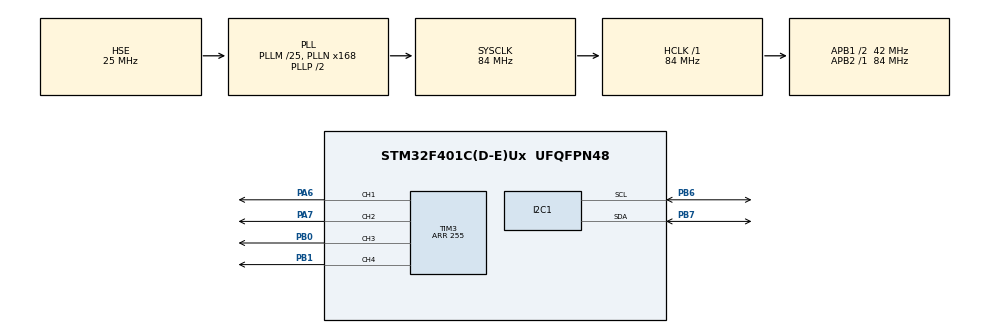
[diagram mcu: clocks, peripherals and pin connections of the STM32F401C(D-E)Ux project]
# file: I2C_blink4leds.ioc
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I2C1.OwnAddress=0x08
Mcu.Family=STM32F4
Mcu.Name=STM32F401C(D-E)Ux
Mcu.Package=UFQFPN48
NVIC.I2C1_ER_IRQn=true\:0\:0\:false\:false\:true\:true\:true\:true
NVIC.I2C1_EV_IRQn=true\:0\:0\:false\:false\:true\:true\:true\:true
NVIC.PriorityGroup=NVIC_PRIORITYGROUP_4
PA6.Signal=S_TIM3_CH1
PA7.Signal=S_TIM3_CH2
PB0.Signal=S_TIM3_CH3
PB1.Signal=S_TIM3_CH4
PB6.Mode=I2C
PB6.Signal=I2C1_SCL
PB7.Mode=I2C
PB7.Signal=I2C1_SDA
PH0\ -\ OSC_IN.Mode=HSE-External-Oscillator
PH0\ -\ OSC_IN.Signal=RCC_OSC_IN
PH1\ -\ OSC_OUT.Mode=HSE-External-Oscillator
PH1\ -\ OSC_OUT.Signal=RCC_OSC_OUT
ProjectManager.HeapSize=0x200
ProjectManager.StackSize=0x400
ProjectManager.TargetToolchain=STM32CubeIDE
RCC.48MHZClocksFreq_Value=42000000
RCC.AHBFreq_Value=84000000
RCC.APB1CLKDivider=RCC_HCLK_DIV2
RCC.APB1Freq_Value=42000000
RCC.APB1TimFreq_Value=84000000
RCC.APB2Freq_Value=84000000
RCC.APB2TimFreq_Value=84000000
RCC.CortexFreq_Value=84000000
RCC.HCLKFreq_Value=84000000
RCC.HSE_VALUE=25000000
RCC.HSI_VALUE=16000000
RCC.LSE_VALUE=32768
RCC.PLLM=25
RCC.PLLN=168
RCC.PLLSourceVirtual=RCC_PLLSOURCE_HSE
RCC.SYSCLKFreq_VALUE=84000000
RCC.SYSCLKSource=RCC_SYSCLKSOURCE_PLLCLK
RCC.VCOOutputFreq_Value=168000000
SH.S_TIM3_CH1.0=TIM3_CH1,PWM Generation1 CH1
SH.S_TIM3_CH2.0=TIM3_CH2,PWM Generation2 CH2
SH.S_TIM3_CH3.0=TIM3_CH3,PWM Generation3 CH3
SH.S_TIM3_CH4.0=TIM3_CH4,PWM Generation4 CH4
TIM3.Channel-PWM\ Generation1\ CH1=TIM_CHANNEL_1
TIM3.Channel-PWM\ Generation2\ CH2=TIM_CHANNEL_2
TIM3.Channel-PWM\ Generation3\ CH3=TIM_CHANNEL_3
TIM3.Channel-PWM\ Generation4\ CH4=TIM_CHANNEL_4
TIM3.Period=255
VP_TIM3_VS_ClockSourceINT.Mode=Internal
board=custom

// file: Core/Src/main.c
/* USER CODE BEGIN Header */
/**
 ******************************************************************************
 * @file           : main.c
 * @brief          : Main program body
 ******************************************************************************
 * @attention
 *
 * Copyright (c) 2024 STMicroelectronics.
 * All rights reserved.
 *
 * This software is licensed under terms that can be found in the LICENSE file
 * in the root directory of this software component.
 * If no LICENSE file comes with this software, it is provided AS-IS.
 *
 ******************************************************************************
 */
/* USER CODE END Header */
#include "main.h"

I2C_HandleTypeDef hi2c1;

TIM_HandleTypeDef htim3;

void SystemClock_Config(void);
static void MX_GPIO_Init(void);
static void MX_I2C1_Init(void);
static void MX_TIM3_Init(void);

/* USER CODE BEGIN 0 */
#define LED_COUNT 4
uint8_t LED_BRIGHTNESS[LED_COUNT];

uint8_t count = 0;

void HAL_I2C_ListenCpltCallback(I2C_HandleTypeDef *hi2c) {
	HAL_I2C_EnableListen_IT(hi2c);
}

void HAL_I2C_AddrCallback(I2C_HandleTypeDef *hi2c, uint8_t TransferDirection,
		uint16_t AddrMatchCode) {
	if (TransferDirection == I2C_DIRECTION_TRANSMIT) {
		HAL_I2C_Slave_Sequential_Receive_IT(hi2c, LED_BRIGHTNESS, LED_COUNT,
				I2C_FIRST_AND_LAST_FRAME);
	} else {
		Error_Handler();
	}
}

void HAL_I2C_SlaveRxCpltCallback(I2C_HandleTypeDef *hi2c) {
	count++;
	if(hi2c->Instance == I2C1){
			uint8_t pwm_value[LED_COUNT];
			for(int i = 0; i < LED_COUNT; i++){
				pwm_value[i] = (LED_BRIGHTNESS[i]*255/100);
			}

			__HAL_TIM_SET_COMPARE(&htim3, TIM_CHANNEL_1, pwm_value[0]);
			__HAL_TIM_SET_COMPARE(&htim3, TIM_CHANNEL_2, pwm_value[1]);
			__HAL_TIM_SET_COMPARE(&htim3, TIM_CHANNEL_3, pwm_value[2]);
			__HAL_TIM_SET_COMPARE(&htim3, TIM_CHANNEL_4, pwm_value[3]);
		}

}

void HAL_I2C_ErrorCallback(I2C_HandleTypeDef *hi2c) {
	HAL_I2C_EnableListen_IT(hi2c);
}

/* USER CODE END 0 */

int main(void)
{

  /* MCU Configuration--------------------------------------------------------*/

  /* Reset of all peripherals, Initializes the Flash interface and the Systick. */
  HAL_Init();

  /* Configure the system clock */
  SystemClock_Config();

  /* Initialize all configured peripherals */
  MX_GPIO_Init();
  MX_I2C1_Init();
  MX_TIM3_Init();
  /* USER CODE BEGIN 2 */

	if (HAL_I2C_EnableListen_IT(&hi2c1)!= HAL_OK)
		    {
		  	  Error_Handler();
		    }

  HAL_TIM_PWM_Start(&htim3, TIM_CHANNEL_1);
  HAL_TIM_PWM_Start(&htim3, TIM_CHANNEL_2);
  HAL_TIM_PWM_Start(&htim3, TIM_CHANNEL_3);
  HAL_TIM_PWM_Start(&htim3, TIM_CHANNEL_4);
  /* USER CODE END 2 */

  /* Infinite loop */
	while (1) {

	}
}

void SystemClock_Config(void)
{
  RCC_OscInitTypeDef RCC_OscInitStruct = {0};
  RCC_ClkInitTypeDef RCC_ClkInitStruct = {0};

  /** Configure the main internal regulator output voltage
  */
  __HAL_RCC_PWR_CLK_ENABLE();
  __HAL_PWR_VOLTAGESCALING_CONFIG(PWR_REGULATOR_VOLTAGE_SCALE2);

  /** Initializes the RCC Oscillators according to the specified parameters
  * in the RCC_OscInitTypeDef structure.
  */
  RCC_OscInitStruct.OscillatorType = RCC_OSCILLATORTYPE_HSE;
  RCC_OscInitStruct.HSEState = RCC_HSE_ON;
  RCC_OscInitStruct.PLL.PLLState = RCC_PLL_ON;
  RCC_OscInitStruct.PLL.PLLSource = RCC_PLLSOURCE_HSE;
  RCC_OscInitStruct.PLL.PLLM = 25;
  RCC_OscInitStruct.PLL.PLLN = 168;
  RCC_OscInitStruct.PLL.PLLP = RCC_PLLP_DIV2;
  RCC_OscInitStruct.PLL.PLLQ = 4;
  if (HAL_RCC_OscConfig(&RCC_OscInitStruct) != HAL_OK)
  {
    Error_Handler();
  }

  /** Initializes the CPU, AHB and APB buses clocks
  */
  RCC_ClkInitStruct.ClockType = RCC_CLOCKTYPE_HCLK|RCC_CLOCKTYPE_SYSCLK
                              |RCC_CLOCKTYPE_PCLK1|RCC_CLOCKTYPE_PCLK2;
  RCC_ClkInitStruct.SYSCLKSource = RCC_SYSCLKSOURCE_PLLCLK;
  RCC_ClkInitStruct.AHBCLKDivider = RCC_SYSCLK_DIV1;
  RCC_ClkInitStruct.APB1CLKDivider = RCC_HCLK_DIV2;
  RCC_ClkInitStruct.APB2CLKDivider = RCC_HCLK_DIV1;

  if (HAL_RCC_ClockConfig(&RCC_ClkInitStruct, FLASH_LATENCY_2) != HAL_OK)
  {
    Error_Handler();
  }
}

static void MX_I2C1_Init(void)
{

  hi2c1.Instance = I2C1;
  hi2c1.Init.ClockSpeed = 100000;
  hi2c1.Init.DutyCycle = I2C_DUTYCYCLE_2;
  hi2c1.Init.OwnAddress1 = 16;
  hi2c1.Init.AddressingMode = I2C_ADDRESSINGMODE_7BIT;
  hi2c1.Init.DualAddressMode = I2C_DUALADDRESS_DISABLE;
  hi2c1.Init.OwnAddress2 = 0;
  hi2c1.Init.GeneralCallMode = I2C_GENERALCALL_DISABLE;
  hi2c1.Init.NoStretchMode = I2C_NOSTRETCH_DISABLE;
  if (HAL_I2C_Init(&hi2c1) != HAL_OK)
  {
    Error_Handler();
  }

}

static void MX_TIM3_Init(void)
{

  TIM_ClockConfigTypeDef sClockSourceConfig = {0};
  TIM_MasterConfigTypeDef sMasterConfig = {0};
  TIM_OC_InitTypeDef sConfigOC = {0};

  htim3.Instance = TIM3;
  htim3.Init.Prescaler = 0;
  htim3.Init.CounterMode = TIM_COUNTERMODE_UP;
  htim3.Init.Period = 255;
  htim3.Init.ClockDivision = TIM_CLOCKDIVISION_DIV1;
  htim3.Init.AutoReloadPreload = TIM_AUTORELOAD_PRELOAD_DISABLE;
  if (HAL_TIM_Base_Init(&htim3) != HAL_OK)
  {
    Error_Handler();
  }
  sClockSourceConfig.ClockSource = TIM_CLOCKSOURCE_INTERNAL;
  if (HAL_TIM_ConfigClockSource(&htim3, &sClockSourceConfig) != HAL_OK)
  {
    Error_Handler();
  }
  if (HAL_TIM_PWM_Init(&htim3) != HAL_OK)
  {
    Error_Handler();
  }
  sMasterConfig.MasterOutputTrigger = TIM_TRGO_RESET;
  sMasterConfig.MasterSlaveMode = TIM_MASTERSLAVEMODE_DISABLE;
  if (HAL_TIMEx_MasterConfigSynchronization(&htim3, &sMasterConfig) != HAL_OK)
  {
    Error_Handler();
  }
  sConfigOC.OCMode = TIM_OCMODE_PWM1;
  sConfigOC.Pulse = 0;
  sConfigOC.OCPolarity = TIM_OCPOLARITY_HIGH;
  sConfigOC.OCFastMode = TIM_OCFAST_DISABLE;
  if (HAL_TIM_PWM_ConfigChannel(&htim3, &sConfigOC, TIM_CHANNEL_1) != HAL_OK)
  {
    Error_Handler();
  }
  if (HAL_TIM_PWM_ConfigChannel(&htim3, &sConfigOC, TIM_CHANNEL_2) != HAL_OK)
  {
    Error_Handler();
  }
  if (HAL_TIM_PWM_ConfigChannel(&htim3, &sConfigOC, TIM_CHANNEL_3) != HAL_OK)
  {
    Error_Handler();
  }
  if (HAL_TIM_PWM_ConfigChannel(&htim3, &sConfigOC, TIM_CHANNEL_4) != HAL_OK)
  {
    Error_Handler();
  }
  HAL_TIM_MspPostInit(&htim3);

}

static void MX_GPIO_Init(void)
{

  /* GPIO Ports Clock Enable */
  __HAL_RCC_GPIOH_CLK_ENABLE();
  __HAL_RCC_GPIOA_CLK_ENABLE();
  __HAL_RCC_GPIOB_CLK_ENABLE();

}

void Error_Handler(void)
{
	__disable_irq();
	while (1) {
	}
}
